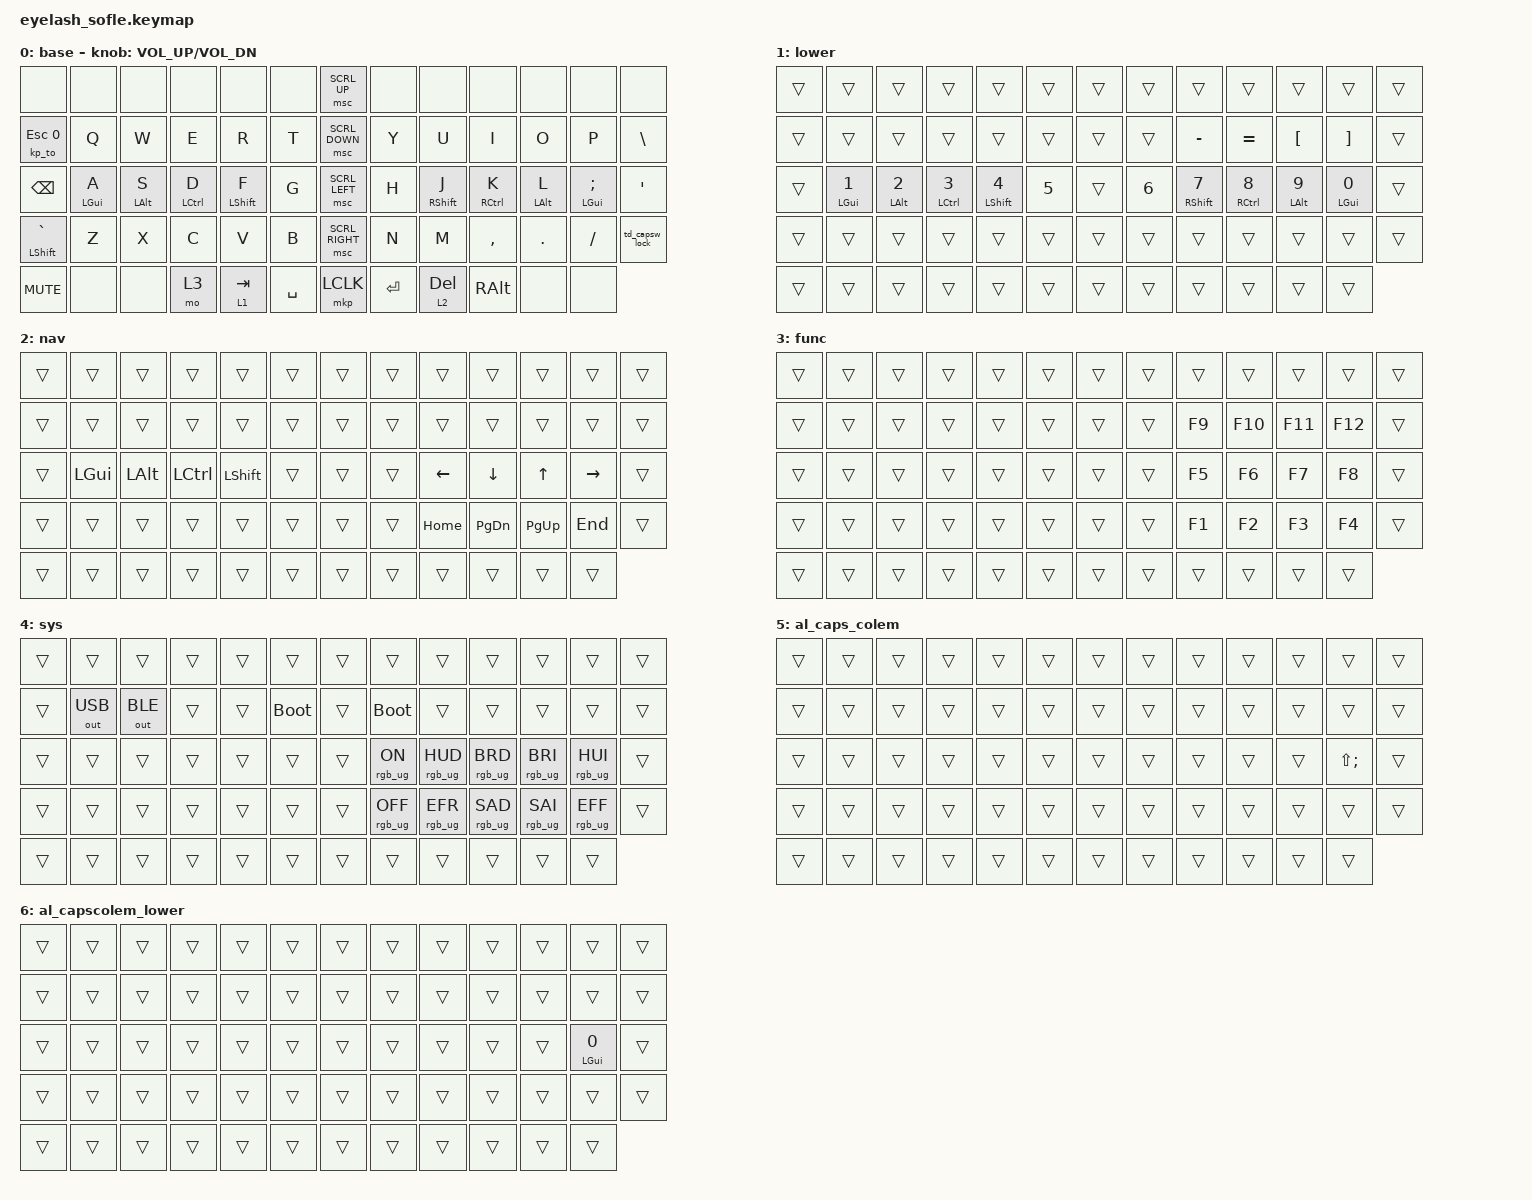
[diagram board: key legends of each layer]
#define ZMK_POINTING_DEFAULT_MOVE_VAL 600  // 600
#define ZMK_POINTING_DEFAULT_SCRL_VAL 50  // 10

#include <input/processors.dtsi>
#include <zephyr/dt-bindings/input/input-event-codes.h>
#include <behaviors.dtsi>
#include <dt-bindings/zmk/keys.h>
#include <dt-bindings/zmk/outputs.h>
#include <dt-bindings/zmk/pointing.h>
#include <dt-bindings/zmk/rgb.h>

&mmv_input_listener { input-processors = <&zip_xy_scaler 2 1>; };

&msc_input_listener { input-processors = <&zip_scroll_scaler 2 1>; };

&msc {
    acceleration-exponent = <0>;      // 0
    time-to-max-speed-ms = <600>;     // 300
    delay-ms = <50>;                  // 0
};

&mmv { time-to-max-speed-ms = <400>; };

&soft_off { hold-time-ms = <2000>; };

&mt {
    flavor = "tap-preferred";
    quick-tap-ms = <110>;
    require-prior-idle-ms = <(-1)>;
    tapping-term-ms = <220>;
};

&lt {
    tapping-term-ms = <200>;
    quick-tap-ms = <150>;
    require-prior-idle-ms = <(-1)>;
    flavor = "hold-preferred";
};

&sl { release-after-ms = <3000>; };

&sk {
    quick-release;
    release-after-ms = <2000>;
};

&caps_word { continue-list = <UNDERSCORE BACKSPACE DELETE SEMICOLON COLON MINUS>; };

/ {
    mt_h_R_slow: mt_h_R_slow {
        compatible = "zmk,behavior-hold-tap";
        label = "Home mod R (slow)";
        bindings = <&kp>, <&kp>;

        #binding-cells = <2>;
        tapping-term-ms = <260>;
        require-prior-idle-ms = <150>;
        flavor = "tap-preferred";
        hold-trigger-key-positions = <13 14 15 16 17 18 26 27 28 29 30 31 39 40 41 42 43 44 53 54 55 56 57 59 60>;
        hold-trigger-on-release;
    };

    mt_h_L_slow: mt_h_L_slow {
        compatible = "zmk,behavior-hold-tap";
        label = "Home mod L (slow)";
        bindings = <&kp>, <&kp>;

        #binding-cells = <2>;
        tapping-term-ms = <260>;
        require-prior-idle-ms = <150>;
        flavor = "tap-preferred";
        hold-trigger-key-positions = <59 60 59 56 57 20 21 22 23 24 25 33 34 35 36 37 38 46 47 48 49 50 51 60 61 62 63>;
        hold-trigger-on-release;
    };

    mt_h_R: mt_h_R {
        compatible = "zmk,behavior-hold-tap";
        label = "Home mod R (shift)";
        bindings = <&kp>, <&kp>;

        #binding-cells = <2>;
        tapping-term-ms = <220>;
        flavor = "balanced";
        hold-trigger-key-positions = <13 14 15 16 17 18 26 27 28 29 30 31 39 40 41 42 43 44 53 54 55 56 57 59 60>;
        hold-trigger-on-release;
        quick-tap-ms = <150>;
        require-prior-idle-ms = <120>;
    };

    mt_h_L: mt_h_L {
        compatible = "zmk,behavior-hold-tap";
        label = "Home mod L (shift)";
        bindings = <&kp>, <&kp>;

        #binding-cells = <2>;
        tapping-term-ms = <220>;
        flavor = "balanced";
        hold-trigger-key-positions = <59 60 59 56 57 20 21 22 23 24 25 33 34 35 36 37 38 46 47 48 49 50 51 60 61 62 63>;
        hold-trigger-on-release;
        quick-tap-ms = <150>;
        require-prior-idle-ms = <120>;
    };

    alayer_caps_colem: alayer_caps_colem {
        compatible = "zmk,behavior-auto-layer";
        #binding-cells = <1>;
        continue-list = <UNDERSCORE BACKSPACE DELETE SEMICOLON COLON MINUS>;
        ignore-alphas;
        ignore-numbers;
        ignore-modifiers;
        label = "Caps word (Colemak O)";
    };

    alayer_nav: alayer_nav {
        compatible = "zmk,behavior-auto-layer";
        #binding-cells = <1>;
        continue-list = <LEFT RIGHT UP DOWN HOME END PAGE_UP PAGE_DOWN DELETE BACKSPACE INSERT>;
        ignore-modifiers;
        label = "Layer lock nav";
    };

    alayer_num: alayer_num {
        compatible = "zmk,behavior-auto-layer";
        #binding-cells = <1>;
        continue-list = <BACKSPACE DELETE DOT COMMA MINUS PLUS STAR FSLH EQUAL>;
        ignore-numbers;
        ignore-modifiers;
        label = "Layer lock num";
    };

    td_capsw_lock: td_capsw_lock {
        compatible = "zmk,behavior-tap-dance";
        #binding-cells = <0>;
        tapping-term-ms = <300>;
        bindings = <&capsw 5>, <&kp CAPSLOCK>;

        label = "Caps word / Caps lock";
    };

    mt_sk: mt_sk {
        compatible = "zmk,behavior-hold-tap";
        label = "MT_SK";
        bindings = <&sk>, <&kp>;

        #binding-cells = <2>;
        flavor = "balanced";
        tapping-term-ms = <175>;
        require-prior-idle-ms = <100>;
    };

    behaviors {
    };

    macros {
        kp_to: kp_to {
            compatible = "zmk,behavior-macro-two-param";
            #binding-cells = <2>;
            bindings = <&macro_param_1to1 &kp MACRO_PLACEHOLDER &macro_param_2to1 &to MACRO_PLACEHOLDER>;
            label = "Tap key, to layer";
        };

        capsw: capsw {
            compatible = "zmk,behavior-macro-one-param";
            #binding-cells = <1>;
            bindings = <&caps_word &macro_param_1to1 &alayer_caps_colem MACRO_PLACEHOLDER>;
            label = "Caps word + Colemak O";
        };
    };

    combos {
        compatible = "zmk,combos";

        sys {
            bindings = <&mo 4>;
            key-positions = <13 26>;
            layers = <0>;
        };
    };

    keymap {
        compatible = "zmk,keymap";

        base {
            bindings = <
&none                 &none                    &none                    &none                        &none                 &none        &msc SCRL_UP     &none      &none                  &none                 &none                    &none                       &none
&kp_to ESCAPE 0       &kp Q                    &kp W                    &kp E                        &kp R                 &kp T        &msc SCRL_DOWN   &kp Y      &kp U                  &kp I                 &kp O                    &kp P                       &kp BACKSLASH
&kp BACKSPACE         &mt_h_L_slow LEFT_GUI A  &mt_h_L_slow LEFT_ALT S  &mt_h_L_slow LEFT_CONTROL D  &mt_h_L LEFT_SHIFT F  &kp G        &msc SCRL_LEFT   &kp H      &mt_h_R RIGHT_SHIFT J  &mt_h_R_slow RCTRL K  &mt_h_R_slow LEFT_ALT L  &mt_h_R_slow LEFT_GUI SEMI  &kp APOS
&mt LEFT_SHIFT GRAVE  &kp Z                    &kp X                    &kp C                        &kp V                 &kp B        &msc SCRL_RIGHT  &kp N      &kp M                  &kp COMMA             &kp DOT                  &kp FSLH                    &td_capsw_lock
&kp C_MUTE            &none                    &none                    &mo 3                        &lt 1 TAB             &kp SPACE    &mkp LCLK        &kp ENTER  &lt 2 DELETE           &kp RIGHT_ALT         &none                    &none
            >;

            sensor-bindings = <&inc_dec_kp C_VOLUME_UP C_VOL_DN>;
            display-name = "base";
        };

        lower {
            bindings = <
&trans  &trans                    &trans                    &trans                        &trans                 &trans    &trans  &trans  &trans                  &trans                         &trans                    &trans                    &trans
&trans  &trans                    &trans                    &trans                        &trans                 &trans    &trans  &trans  &kp MINUS               &kp EQUAL                      &kp LEFT_BRACKET          &kp RIGHT_BRACKET         &trans
&trans  &mt_h_L_slow LEFT_GUI N1  &mt_h_L_slow LEFT_ALT N2  &mt_h_L_slow LEFT_CONTROL N3  &mt_h_L LEFT_SHIFT N4  &kp N5    &trans  &kp N6  &mt_h_R RIGHT_SHIFT N7  &mt_h_R_slow RIGHT_CONTROL N8  &mt_h_R_slow LEFT_ALT N9  &mt_h_R_slow LEFT_GUI N0  &trans
&trans  &trans                    &trans                    &trans                        &trans                 &trans    &trans  &trans  &trans                  &trans                         &trans                    &trans                    &trans
&trans  &trans                    &trans                    &trans                        &trans                 &trans    &trans  &trans  &trans                  &trans                         &trans                    &trans
            >;

            label = "lower";
        };

        nav {
            bindings = <
&trans  &trans        &trans        &trans            &trans          &trans    &trans  &trans  &trans    &trans         &trans        &trans     &trans
&trans  &trans        &trans        &trans            &trans          &trans    &trans  &trans  &trans    &trans         &trans        &trans     &trans
&trans  &kp LEFT_GUI  &kp LEFT_ALT  &kp LEFT_CONTROL  &kp LEFT_SHIFT  &trans    &trans  &trans  &kp LEFT  &kp DOWN       &kp UP_ARROW  &kp RIGHT  &trans
&trans  &trans        &trans        &trans            &trans          &trans    &trans  &trans  &kp HOME  &kp PAGE_DOWN  &kp PAGE_UP   &kp END    &trans
&trans  &trans        &trans        &trans            &trans          &trans    &trans  &trans  &trans    &trans         &trans        &trans
            >;

            display-name = "nav";
        };

        func {
            bindings = <
&trans  &trans  &trans  &trans  &trans  &trans    &trans  &trans  &trans  &trans   &trans   &trans   &trans
&trans  &trans  &trans  &trans  &trans  &trans    &trans  &trans  &kp F9  &kp F10  &kp F11  &kp F12  &trans
&trans  &trans  &trans  &trans  &trans  &trans    &trans  &trans  &kp F5  &kp F6   &kp F7   &kp F8   &trans
&trans  &trans  &trans  &trans  &trans  &trans    &trans  &trans  &kp F1  &kp F2   &kp F3   &kp F4   &trans
&trans  &trans  &trans  &trans  &trans  &trans    &trans  &trans  &trans  &trans   &trans   &trans
            >;

            label = "func";
        };

        sys {
            bindings = <
&trans  &trans        &trans        &trans  &trans  &trans         &trans  &trans           &trans           &trans           &trans           &trans           &trans
&trans  &out OUT_USB  &out OUT_BLE  &trans  &trans  &bootloader    &trans  &bootloader      &trans           &trans           &trans           &trans           &trans
&trans  &trans        &trans        &trans  &trans  &trans         &trans  &rgb_ug RGB_ON   &rgb_ug RGB_HUD  &rgb_ug RGB_BRD  &rgb_ug RGB_BRI  &rgb_ug RGB_HUI  &trans
&trans  &trans        &trans        &trans  &trans  &trans         &trans  &rgb_ug RGB_OFF  &rgb_ug RGB_EFR  &rgb_ug RGB_SAD  &rgb_ug RGB_SAI  &rgb_ug RGB_EFF  &trans
&trans  &trans        &trans        &trans  &trans  &trans         &trans  &trans           &trans           &trans           &trans           &trans
            >;

            label = "sys";
        };

        al_caps_colem {
            bindings = <
&trans  &trans  &trans  &trans  &trans  &trans    &trans  &trans  &trans  &trans  &trans  &trans        &trans
&trans  &trans  &trans  &trans  &trans  &trans    &trans  &trans  &trans  &trans  &trans  &trans        &trans
&trans  &trans  &trans  &trans  &trans  &trans    &trans  &trans  &trans  &trans  &trans  &kp LS(SEMI)  &trans
&trans  &trans  &trans  &trans  &trans  &trans    &trans  &trans  &trans  &trans  &trans  &trans        &trans
&trans  &trans  &trans  &trans  &trans  &trans    &trans  &trans  &trans  &trans  &trans  &trans
            >;
        };

        al_capscolem_lower {
            bindings = <
&trans  &trans  &trans  &trans  &trans  &trans    &trans  &trans  &trans  &trans  &trans  &trans                          &trans
&trans  &trans  &trans  &trans  &trans  &trans    &trans  &trans  &trans  &trans  &trans  &trans                          &trans
&trans  &trans  &trans  &trans  &trans  &trans    &trans  &trans  &trans  &trans  &trans  &mt_h_R_slow LEFT_GUI NUMBER_0  &trans
&trans  &trans  &trans  &trans  &trans  &trans    &trans  &trans  &trans  &trans  &trans  &trans                          &trans
&trans  &trans  &trans  &trans  &trans  &trans    &trans  &trans  &trans  &trans  &trans  &trans
            >;
        };
    };

    conditional_layers {
        compatible = "zmk,conditional-layers";

        capsw-lower {
            if-layers = <1 5>;
            then-layer = <6>;
        };
    };
};
